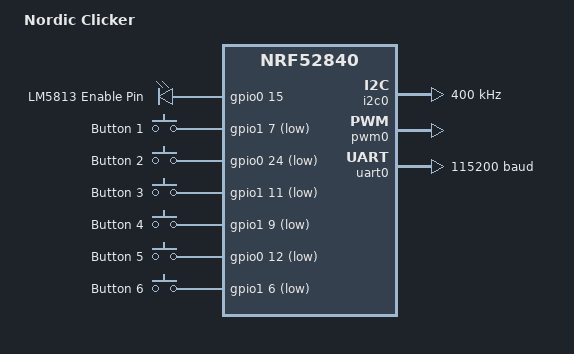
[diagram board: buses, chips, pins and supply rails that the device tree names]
/dts-v1/;
#include <nordic/nrf52840_qiaa.dtsi>
#include "nordic_clicker-pinctrl.dtsi"

/ {
	model = "Nordic Clicker";
	compatible = "yohummus,nordic-clicker";

	chosen {
		zephyr,sram = &sram0;
		zephyr,flash = &flash0;
		zephyr,console = &uart0;
	};

	outputs {
		compatible = "gpio-leds";
		lp5813_en: lp5813_en {
			gpios = <&gpio0 15 GPIO_ACTIVE_HIGH>;
			label = "LM5813 Enable Pin";
		};
	};

	buttons {
		compatible = "gpio-keys";
		button_1: button_1 {
			gpios = <&gpio1 7 (GPIO_ACTIVE_LOW | GPIO_PULL_UP)>;
			label = "Button 1";
			zephyr,code = <INPUT_BTN_1>;
		};
		button_2: button_2 {
			gpios = <&gpio0 24 (GPIO_ACTIVE_LOW | GPIO_PULL_UP)>;
			label = "Button 2";
			zephyr,code = <INPUT_BTN_2>;
		};
		button_3: button_3 {
			gpios = <&gpio1 11 (GPIO_ACTIVE_LOW | GPIO_PULL_UP)>;
			label = "Button 3";
			zephyr,code = <INPUT_BTN_3>;
		};
		button_4: button_4 {
			gpios = <&gpio1 9 (GPIO_ACTIVE_LOW | GPIO_PULL_UP)>;
			label = "Button 4";
			zephyr,code = <INPUT_BTN_4>;
		};
		button_5: button_5 {
			gpios = <&gpio0 12 (GPIO_ACTIVE_LOW | GPIO_PULL_UP)>;
			label = "Button 5";
			zephyr,code = <INPUT_BTN_5>;
		};
		button_6: button_6 {
			gpios = <&gpio1 6 (GPIO_ACTIVE_LOW | GPIO_PULL_UP)>;
			label = "Button 6";
			zephyr,code = <INPUT_BTN_6>;
		};
	};
};

&gpio0 {
	status = "okay";
};

&gpio1 {
	status = "okay";
};

&gpiote {
	status = "okay";
};

&i2c0 {
	compatible = "nordic,nrf-twi";
	status = "okay";
	pinctrl-0 = <&i2c0_default>;
	pinctrl-1 = <&i2c0_sleep>;
	pinctrl-names = "default", "sleep";
	clock-frequency = <I2C_BITRATE_FAST>;
};

&pwm0 {
	status = "okay";
	pinctrl-0 = <&pwm0_default>;
	pinctrl-1 = <&pwm0_sleep>;
	pinctrl-names = "default", "sleep";
};

&uart0 {
	compatible = "nordic,nrf-uarte";
	status = "okay";
	current-speed = <115200>;
	disable-rx;
	data-bits = <8>;
	stop-bits = "1";
	pinctrl-0 = <&uart0_default>;
	pinctrl-1 = <&uart0_sleep>;
	pinctrl-names = "default", "sleep";
};
